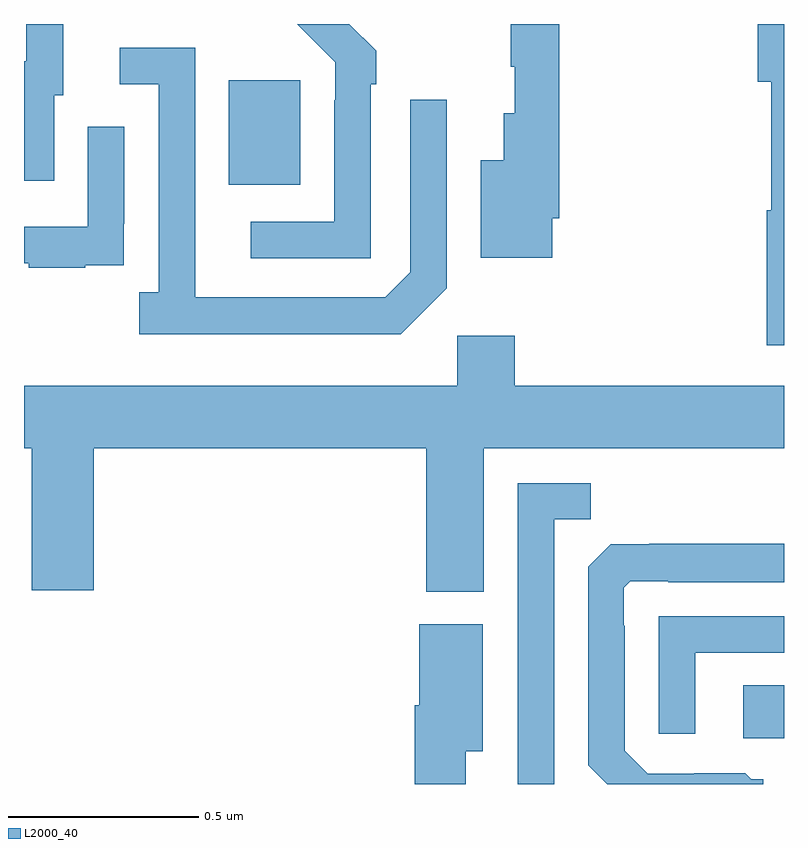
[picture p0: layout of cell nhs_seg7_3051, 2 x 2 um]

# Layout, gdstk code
import gdstk
lib = gdstk.Library(unit=1e-6, precision=1e-09)
def R(c, l, rs):  # rectangles x0, y0, x1, y1
    for r in rs: c.add(gdstk.rectangle(r[:2], r[2:], *l))
def P(c, l, *ps):  # polygons
    for p in ps: c.add(gdstk.Polygon(p, *l))
L2000_40 = (2000, 40)

nhs_seg7_3051 = lib.new_cell('nhs_seg7_3051')
R(nhs_seg7_3051, L2000_40, [(154.893,1065.12,155,1065.26), (153.539,1066.577,153.727,1066.852)])
P(nhs_seg7_3051, L2000_40, [(155,1067),(154.931,1067),(154.931,1066.848),(154.967,1066.848),(154.967,1066.51),(154.955,1066.51),(154.955,1066.155),(155,1066.155)],
  [(153.079,1066.812),(153.103,1066.812),(153.103,1067),(153.006,1067),(153.006,1066.902),(153,1066.902),(153,1066.587),(153.079,1066.587)],
  [(153.912,1066.841),(153.927,1066.841),(153.927,1066.929),(153.856,1067),(153.719,1067),(153.819,1066.899),(153.819,1066.799),(153.816,1066.799),(153.816,1066.479),(153.597,1066.479),(153.597,1066.383),(153.912,1066.383)],
  [(154.39,1066.489),(154.409,1066.489),(154.409,1067),(154.281,1067),(154.281,1066.887),(154.292,1066.887),(154.292,1066.765),(154.262,1066.765),(154.262,1066.642),(154.202,1066.642),(154.202,1066.385),(154.39,1066.385)],
  [(154.113,1066.305),(154.113,1066.801),(154.017,1066.801),(154.017,1066.347),(153.951,1066.281),(153.451,1066.281),(153.451,1066.481),(153.45,1066.481),(153.45,1066.938),(153.252,1066.938),(153.252,1066.842),(153.354,1066.842),(153.354,1066.294),(153.303,1066.294),(153.303,1066.184),(153.992,1066.184)],
  [(153.161,1066.365),(153.263,1066.365),(153.263,1066.474),(153.264,1066.474),(153.264,1066.729),(153.168,1066.729),(153.168,1066.467),(153,1066.467),(153,1066.371),(153.013,1066.371),(153.013,1066.359),(153.161,1066.359)],
  [(154.21,1065.884),(155,1065.884),(155,1066.048),(154.292,1066.048),(154.292,1066.18),(154.14,1066.18),(154.14,1066.048),(153,1066.048),(153,1065.884),(153.02,1065.884),(153.02,1065.51),(153.184,1065.51),(153.184,1065.884),(154.058,1065.884),(154.058,1065.506),(154.21,1065.506)],
  [(154.395,1065.697),(154.491,1065.697),(154.491,1065.792),(154.299,1065.792),(154.299,1065),(154.395,1065)],
  [(154.945,1065.012),(154.914,1065.012),(154.898,1065.028),(154.764,1065.028),(154.764,1065.027),(154.641,1065.027),(154.581,1065.087),(154.581,1065.416),(154.578,1065.416),(154.578,1065.516),(154.596,1065.534),(154.696,1065.534),(154.696,1065.531),(155,1065.531),(155,1065.632),(154.645,1065.632),(154.645,1065.631),(154.544,1065.631),(154.485,1065.572),(154.485,1065.05),(154.535,1065),(154.945,1065)],
  [(154.767,1065.345),(155,1065.345),(155,1065.441),(154.671,1065.441),(154.671,1065.132),(154.767,1065.132)],
  [(154.162,1065.086),(154.207,1065.086),(154.207,1065.421),(154.04,1065.421),(154.04,1065.207),(154.028,1065.207),(154.028,1065),(154.162,1065)])

lib.write_gds('nhs_seg7_3051.gds')
